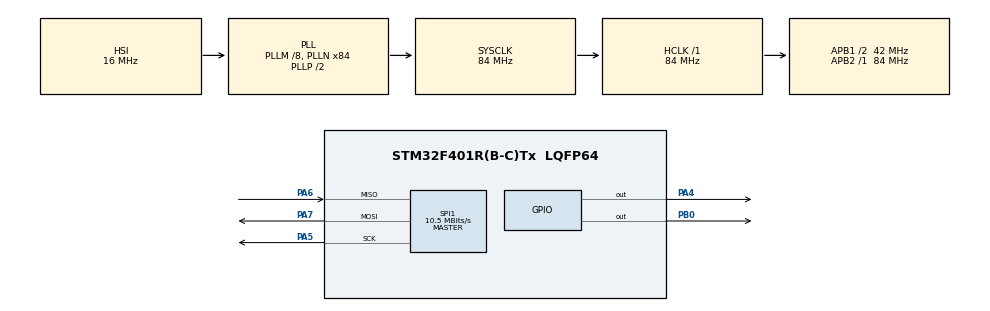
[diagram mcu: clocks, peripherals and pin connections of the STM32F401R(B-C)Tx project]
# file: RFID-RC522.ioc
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Mcu.Family=STM32F4
Mcu.Name=STM32F401R(B-C)Tx
Mcu.Package=LQFP64
NVIC.PriorityGroup=NVIC_PRIORITYGROUP_4
PA13.Mode=Serial_Wire
PA13.Signal=SYS_JTMS-SWDIO
PA14.Mode=Serial_Wire
PA14.Signal=SYS_JTCK-SWCLK
PA4.Signal=GPIO_Output
PA5.Mode=Full_Duplex_Master
PA5.Signal=SPI1_SCK
PA6.Mode=Full_Duplex_Master
PA6.Signal=SPI1_MISO
PA7.Mode=Full_Duplex_Master
PA7.Signal=SPI1_MOSI
PB0.Signal=GPIO_Output
PH0\ -\ OSC_IN.Mode=HSE-External-Oscillator
PH0\ -\ OSC_IN.Signal=RCC_OSC_IN
PH1\ -\ OSC_OUT.Mode=HSE-External-Oscillator
PH1\ -\ OSC_OUT.Signal=RCC_OSC_OUT
ProjectManager.HeapSize=0x200
ProjectManager.StackSize=0x400
ProjectManager.TargetToolchain=CMake
RCC.48MHZClocksFreq_Value=42000000
RCC.AHBFreq_Value=84000000
RCC.APB1CLKDivider=RCC_HCLK_DIV2
RCC.APB1Freq_Value=42000000
RCC.APB1TimFreq_Value=84000000
RCC.APB2Freq_Value=84000000
RCC.APB2TimFreq_Value=84000000
RCC.CortexFreq_Value=84000000
RCC.HCLKFreq_Value=84000000
RCC.HSE_VALUE=25000000
RCC.HSI_VALUE=16000000
RCC.LSE_VALUE=32768
RCC.PLLM=8
RCC.PLLN=84
RCC.SYSCLKFreq_VALUE=84000000
RCC.SYSCLKSource=RCC_SYSCLKSOURCE_PLLCLK
RCC.VCOOutputFreq_Value=168000000
SPI1.BaudRatePrescaler=SPI_BAUDRATEPRESCALER_8
SPI1.CalculateBaudRate=10.5 MBits/s
SPI1.Direction=SPI_DIRECTION_2LINES
SPI1.Mode=SPI_MODE_MASTER
SPI1.VirtualType=VM_MASTER
board=custom

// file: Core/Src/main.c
/* USER CODE BEGIN Header */
/**
 ******************************************************************************
 * @file           : main.c
 * @brief          : Main program body
 ******************************************************************************
 * @attention
 *
 * Copyright (c) 2025 STMicroelectronics.
 * All rights reserved.
 *
 * This software is licensed under terms that can be found in the LICENSE file
 * in the root directory of this software component.
 * If no LICENSE file comes with this software, it is provided AS-IS.
 *
 ******************************************************************************
 */
/* USER CODE END Header */
#include "main.h"

/* USER CODE BEGIN Includes */
#include "RC522.h"
#include "string.h"
/* USER CODE END Includes */

SPI_HandleTypeDef hspi1;

/* USER CODE BEGIN PV */
uint8_t status;
uint8_t str[16];
uint8_t sNum[5];
char*   msg1 = "Reading From Card\r\n";
char*   msg2 = "Reading From Tag\r\n";
char*   msg3 = "Place card to read\r\n";
/* USER CODE END PV */

void        SystemClock_Config(void);
static void MX_GPIO_Init(void);
static void MX_SPI1_Init(void);

int main(void) {

  /* MCU Configuration--------------------------------------------------------*/

  /* Reset of all peripherals, Initializes the Flash interface and the Systick. */
  HAL_Init();

  /* Configure the system clock */
  SystemClock_Config();

  /* Initialize all configured peripherals */
  MX_GPIO_Init();
  MX_SPI1_Init();
  /* USER CODE BEGIN 2 */
  MFRC522_Init();
  /* USER CODE END 2 */

  /* Infinite loop */
  while(1) {

    /* USER CODE BEGIN 3 */
    status = MFRC522_Request(PICC_REQIDL, str);
    status = MFRC522_Anticoll(str);
    memcpy(sNum, str, 5);
    HAL_Delay(200);
    if((str[0] == 131) && (str[1] == 32) && (str[2] == 86) && (str[3] == 17) && (str[4] == 244)) {
      // HAL_UART_Transmit(&huart2, (uint8_t*) msg1, strlen(msg1), HAL_MAX_DELAY);
    }

    if((str[0] == 19) && (str[1] == 32) && (str[2] == 165) && (str[3] == 11) && (str[4] == 42)) {
      // HAL_UART_Transmit(&huart2, (uint8_t*) msg2, strlen(msg2), HAL_MAX_DELAY);
    }
  }
}

/* USER CODE END 3 */
}

void SystemClock_Config(void) {
  RCC_OscInitTypeDef RCC_OscInitStruct = {0};
  RCC_ClkInitTypeDef RCC_ClkInitStruct = {0};

  /** Configure the main internal regulator output voltage
   */
  __HAL_RCC_PWR_CLK_ENABLE();
  __HAL_PWR_VOLTAGESCALING_CONFIG(PWR_REGULATOR_VOLTAGE_SCALE2);

  /** Initializes the RCC Oscillators according to the specified parameters
   * in the RCC_OscInitTypeDef structure.
   */
  RCC_OscInitStruct.OscillatorType      = RCC_OSCILLATORTYPE_HSI;
  RCC_OscInitStruct.HSIState            = RCC_HSI_ON;
  RCC_OscInitStruct.HSICalibrationValue = RCC_HSICALIBRATION_DEFAULT;
  RCC_OscInitStruct.PLL.PLLState        = RCC_PLL_ON;
  RCC_OscInitStruct.PLL.PLLSource       = RCC_PLLSOURCE_HSI;
  RCC_OscInitStruct.PLL.PLLM            = 8;
  RCC_OscInitStruct.PLL.PLLN            = 84;
  RCC_OscInitStruct.PLL.PLLP            = RCC_PLLP_DIV2;
  RCC_OscInitStruct.PLL.PLLQ            = 4;
  if(HAL_RCC_OscConfig(&RCC_OscInitStruct) != HAL_OK) { Error_Handler(); }

  /** Initializes the CPU, AHB and APB buses clocks
   */
  RCC_ClkInitStruct.ClockType      = RCC_CLOCKTYPE_HCLK | RCC_CLOCKTYPE_SYSCLK | RCC_CLOCKTYPE_PCLK1 | RCC_CLOCKTYPE_PCLK2;
  RCC_ClkInitStruct.SYSCLKSource   = RCC_SYSCLKSOURCE_PLLCLK;
  RCC_ClkInitStruct.AHBCLKDivider  = RCC_SYSCLK_DIV1;
  RCC_ClkInitStruct.APB1CLKDivider = RCC_HCLK_DIV2;
  RCC_ClkInitStruct.APB2CLKDivider = RCC_HCLK_DIV1;

  if(HAL_RCC_ClockConfig(&RCC_ClkInitStruct, FLASH_LATENCY_2) != HAL_OK) { Error_Handler(); }
}

static void MX_SPI1_Init(void) {

  /* SPI1 parameter configuration*/
  hspi1.Instance               = SPI1;
  hspi1.Init.Mode              = SPI_MODE_MASTER;
  hspi1.Init.Direction         = SPI_DIRECTION_2LINES;
  hspi1.Init.DataSize          = SPI_DATASIZE_8BIT;
  hspi1.Init.CLKPolarity       = SPI_POLARITY_LOW;
  hspi1.Init.CLKPhase          = SPI_PHASE_1EDGE;
  hspi1.Init.NSS               = SPI_NSS_SOFT;
  hspi1.Init.BaudRatePrescaler = SPI_BAUDRATEPRESCALER_8;
  hspi1.Init.FirstBit          = SPI_FIRSTBIT_MSB;
  hspi1.Init.TIMode            = SPI_TIMODE_DISABLE;
  hspi1.Init.CRCCalculation    = SPI_CRCCALCULATION_DISABLE;
  hspi1.Init.CRCPolynomial     = 10;
  if(HAL_SPI_Init(&hspi1) != HAL_OK) { Error_Handler(); }
}

static void MX_GPIO_Init(void) {
  GPIO_InitTypeDef GPIO_InitStruct = {0};

  /* GPIO Ports Clock Enable */
  __HAL_RCC_GPIOH_CLK_ENABLE();
  __HAL_RCC_GPIOA_CLK_ENABLE();
  __HAL_RCC_GPIOB_CLK_ENABLE();

  /*Configure GPIO pin Output Level */
  HAL_GPIO_WritePin(GPIOA, GPIO_PIN_4, GPIO_PIN_RESET);

  /*Configure GPIO pin Output Level */
  HAL_GPIO_WritePin(GPIOB, GPIO_PIN_0, GPIO_PIN_RESET);

  /*Configure GPIO pin : PA4 */
  GPIO_InitStruct.Pin   = GPIO_PIN_4;
  GPIO_InitStruct.Mode  = GPIO_MODE_OUTPUT_PP;
  GPIO_InitStruct.Pull  = GPIO_NOPULL;
  GPIO_InitStruct.Speed = GPIO_SPEED_FREQ_LOW;
  HAL_GPIO_Init(GPIOA, &GPIO_InitStruct);

  /*Configure GPIO pin : PB0 */
  GPIO_InitStruct.Pin   = GPIO_PIN_0;
  GPIO_InitStruct.Mode  = GPIO_MODE_OUTPUT_PP;
  GPIO_InitStruct.Pull  = GPIO_NOPULL;
  GPIO_InitStruct.Speed = GPIO_SPEED_FREQ_LOW;
  HAL_GPIO_Init(GPIOB, &GPIO_InitStruct);

}

void Error_Handler(void) {
  __disable_irq();
  while(1) {}
}
